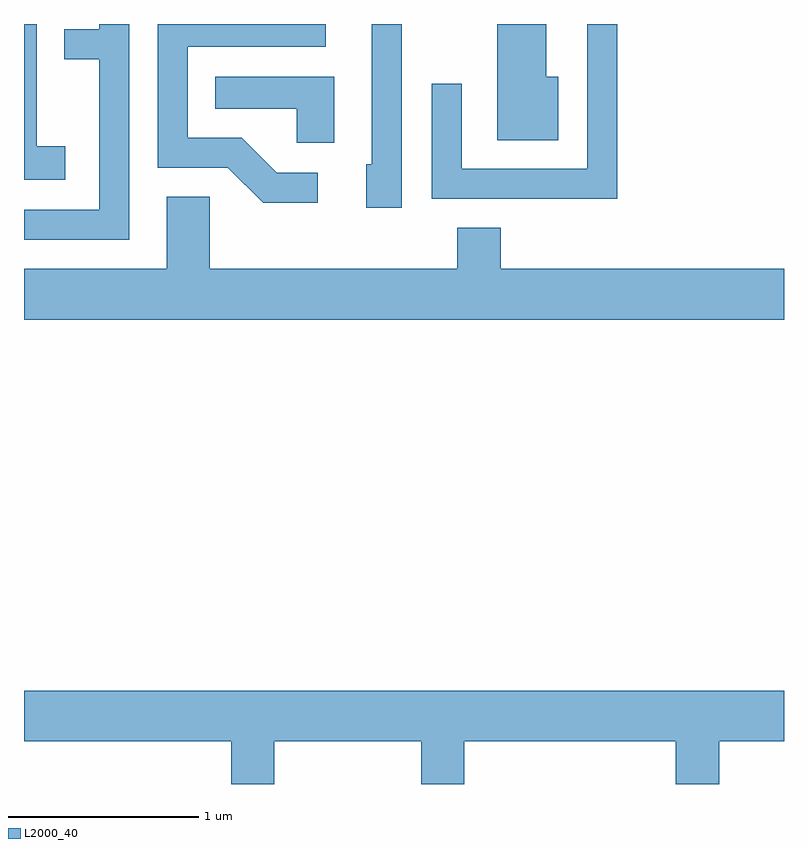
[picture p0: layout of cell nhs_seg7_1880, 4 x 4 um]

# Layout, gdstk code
import gdstk
lib = gdstk.Library(unit=1e-6, precision=1e-09)
def P(c, l, *ps):  # polygons
    for p in ps: c.add(gdstk.Polygon(p, *l))
L2000_40 = (2000, 40)

nhs_seg7_1880 = lib.new_cell('nhs_seg7_1880')
P(nhs_seg7_1880, L2000_40, [(242.164,1780.252),(242.006,1780.252),(242.006,1780.224),(241.823,1780.224),(241.823,1780.066),(242.006,1780.066),(242.006,1779.274),(241.611,1779.274),(241.611,1779.116),(242.164,1779.116)],
  [(243.599,1780.252),(243.441,1780.252),(243.441,1779.514),(243.411,1779.514),(243.411,1779.286),(243.599,1779.286)],
  [(241.829,1779.609),(241.679,1779.609),(241.679,1780.252),(241.611,1780.252),(241.611,1779.431),(241.829,1779.431)],
  [(244.734,1780.252),(244.576,1780.252),(244.576,1779.489),(243.914,1779.489),(243.914,1779.938),(243.756,1779.938),(243.756,1779.331),(244.734,1779.331)],
  [(244.424,1779.974),(244.359,1779.974),(244.359,1780.252),(244.101,1780.252),(244.101,1779.641),(244.424,1779.641)],
  [(243.158,1779.469),(242.942,1779.469),(242.757,1779.654),(242.474,1779.654),(242.474,1780.131),(243.198,1780.131),(243.198,1780.252),(242.316,1780.252),(242.316,1779.496),(242.684,1779.496),(242.869,1779.311),(243.158,1779.311)],
  [(243.244,1779.974),(242.618,1779.974),(242.618,1779.806),(243.046,1779.806),(243.046,1779.626),(243.244,1779.626)],
  [(245.611,1778.964),(244.119,1778.964),(244.119,1779.179),(243.891,1779.179),(243.891,1778.964),(242.589,1778.964),(242.589,1779.344),(242.361,1779.344),(242.361,1778.964),(241.611,1778.964),(241.611,1778.696),(245.611,1778.696)],
  [(242.929,1776.476),(243.701,1776.476),(243.701,1776.252),(243.929,1776.252),(243.929,1776.476),(245.041,1776.476),(245.041,1776.252),(245.269,1776.252),(245.269,1776.476),(245.611,1776.476),(245.611,1776.744),(241.611,1776.744),(241.611,1776.476),(242.701,1776.476),(242.701,1776.252),(242.929,1776.252)])

lib.write_gds('nhs_seg7_1880.gds')
